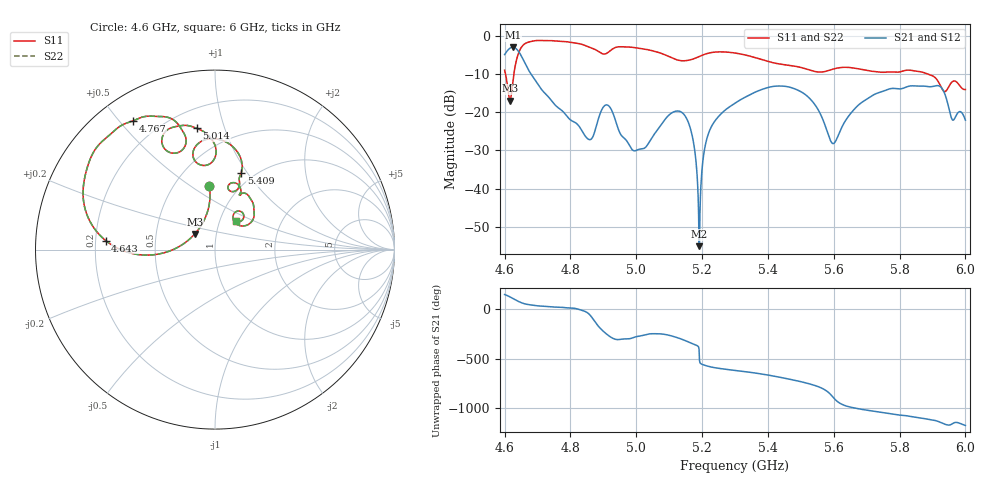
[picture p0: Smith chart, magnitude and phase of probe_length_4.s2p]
! TOUCHSTONE file generated by CST MICROWAVE STUDIO
! Date and time: Sat Nov 30 13:11:59 2024
! Project name: test_tuning.cst
! Parameters = {airCoaxOuterDiameter=3; chamferAngle=45; chamferWidth=24; connectorLength=10; drillingHoleDiameter=4.1; feedLength=60; flareDiameter=130; flareLength=70; gratingDistance=0; gratingGap=1.90274; outletLength=30; polarizerLength=134; probe1Diameter=1.3; probe1Distance=14; probe1Length=9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
! Header version: 2024
! Port assignment regex: !\s*Touchstone port\s*([0-9]+)\s*=\s*(CST MWS port|CST DES external port|CST DES block port)\s*(.+)\s* \(\"(.*)\"\)(\s*mode\s*([0-9]+))?.*
! Touchstone port assignment:
! Touchstone port 1 = CST MWS port 1 ("Input1")
! Touchstone port 2 = CST MWS port 2 ("Input2")
# GHz S MA R 50
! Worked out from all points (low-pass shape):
!   1001 points, 4.6 GHz to 6 GHz, reference 50 ohm
!   highest |S21| = -2.97 dB at 4.625 GHz (marker M1); lowest = -55.1 dB at 5.191 GHz (marker M2)
!   |S21| within 3 dB of the highest: start of sweep to 4.655 GHz
!   lowest |S11| = -16.9 dB at 4.617 GHz (marker M3), VSWR 1.33, Z = 39.4 + j7.05 ohm
!   |S11| at or under -10 dB: 4.603 GHz to 4.628 GHz (25.28 MHz wide, 0.548 % of centre); 5.886 GHz to end of sweep
!   |S22| runs from -16.9 to -1.2 dB; largest |S21 - S12| = 1.7e-06
!   S11 on the Smith chart (normalised r, x): 4.6 GHz: 0.73, +0.60; 4.643 GHz: 0.24, +0.04; 4.767 GHz: 0.11, +0.54; 5.014 GHz: 0.32, +0.81; 5.409 GHz: 0.87, +0.94; 6 GHz: 1.19, +0.40
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4.6  0.3562 95.1  0.5698 147.9  0.5698 147.9  0.3562 95.1
4.6168  0.1422 141.9  0.693 123.3  0.693 123.3  0.1422 141.9
4.6252  0.2561 -178.0  0.7107 108.3  0.7107 108.3  0.2561 -178.0
4.6434  0.6112 175.3  0.617 76.3  0.617 76.3  0.6112 175.3
4.6868  0.8578 144.4  0.2879 39.4  0.2879 39.4  0.8578 144.4
4.7666  0.8503 122.4  0.1116 20.5  0.1116 20.5  0.8503 122.4
4.8338  0.7777 109.2  0.05839 -10.5  0.05839 -10.5  0.7777 109.2
4.8632  0.6956 105.5  0.04453 -74.6  0.04453 -74.6  0.6956 105.5
4.9122  0.5985 115.1  0.1245 101.8  0.1245 101.8  0.5985 115.1
5.0144  0.683 98.5  0.03308 90.6  0.03308 90.6  0.683 98.5
5.0676  0.6075 91.3  0.06114 111.1  0.06114 111.1  0.6075 91.3
5.1516  0.4748 98.6  0.08508 38.3  0.08508 38.3  0.4748 98.6
5.174  0.5006 102.4  0.04012 7.5  0.04012 7.5  0.5006 102.4
5.1908  0.5362 103.2  0.001766 -47.7  0.001766 -47.7  0.5362 103.2
5.2216  0.5975 99.1  0.05598 139.9  0.05598 139.9  0.5975 99.1
5.3  0.5969 82.9  0.1315 100.7  0.1315 100.7  0.5969 82.9
5.4092  0.4522 71.2  0.2156 48.5  0.2156 48.5  0.4522 71.2
5.5338  0.3498 70.3  0.1409 -42.4  0.1409 -42.4  0.3498 70.3
5.5996  0.3693 78.0  0.03904 -176.6  0.03904 -176.6  0.3693 78.0
5.7676  0.3371 65.8  0.2012 24.7  0.2012 24.7  0.3371 65.8
5.9188  0.247 37.0  0.2222 -57.1  0.2222 -57.1  0.2469 37.0
6  0.1987 54.5  0.07886 -95.9  0.07886 -95.9  0.1987 54.5
